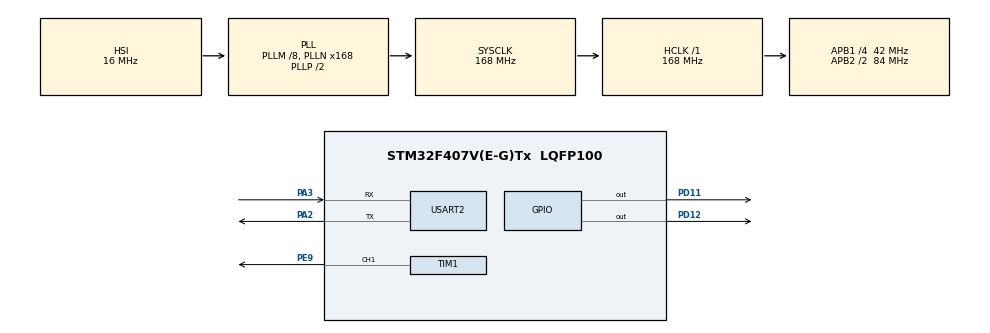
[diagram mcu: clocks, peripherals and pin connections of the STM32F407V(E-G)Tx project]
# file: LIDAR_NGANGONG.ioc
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Dma.Request0=USART2_RX
Dma.USART2_RX.0.Direction=DMA_PERIPH_TO_MEMORY
Dma.USART2_RX.0.FIFOMode=DMA_FIFOMODE_DISABLE
Dma.USART2_RX.0.Instance=DMA1_Stream5
Dma.USART2_RX.0.MemDataAlignment=DMA_MDATAALIGN_BYTE
Dma.USART2_RX.0.MemInc=DMA_MINC_ENABLE
Dma.USART2_RX.0.Mode=DMA_CIRCULAR
Dma.USART2_RX.0.PeriphDataAlignment=DMA_PDATAALIGN_BYTE
Dma.USART2_RX.0.PeriphInc=DMA_PINC_DISABLE
Dma.USART2_RX.0.Priority=DMA_PRIORITY_LOW
Mcu.Family=STM32F4
Mcu.Name=STM32F407V(E-G)Tx
Mcu.Package=LQFP100
NVIC.DMA1_Stream5_IRQn=true\:0\:0\:false\:false\:true\:false\:true\:true
NVIC.PriorityGroup=NVIC_PRIORITYGROUP_4
PA2.Mode=Asynchronous
PA2.Signal=USART2_TX
PA3.Mode=Asynchronous
PA3.Signal=USART2_RX
PD11.Signal=GPIO_Output
PD12.Signal=GPIO_Output
PE9.Signal=S_TIM1_CH1
ProjectManager.HeapSize=0x200
ProjectManager.StackSize=0x400
ProjectManager.TargetToolchain=MDK-ARM V5.32
RCC.48MHZClocksFreq_Value=84000000
RCC.AHBFreq_Value=168000000
RCC.APB1CLKDivider=RCC_HCLK_DIV4
RCC.APB1Freq_Value=42000000
RCC.APB1TimFreq_Value=84000000
RCC.APB2CLKDivider=RCC_HCLK_DIV2
RCC.APB2Freq_Value=84000000
RCC.APB2TimFreq_Value=168000000
RCC.CortexFreq_Value=168000000
RCC.HCLKFreq_Value=168000000
RCC.HSE_VALUE=25000000
RCC.HSI_VALUE=16000000
RCC.LSE_VALUE=32768
RCC.PLLM=8
RCC.PLLN=168
RCC.SYSCLKFreq_VALUE=168000000
RCC.SYSCLKSource=RCC_SYSCLKSOURCE_PLLCLK
RCC.VCOOutputFreq_Value=336000000
SH.S_TIM1_CH1.0=TIM1_CH1,PWM Generation1 CH1
TIM1.Channel-PWM\ Generation1\ CH1=TIM_CHANNEL_1
TIM1.Period=65535-1
TIM1.Prescaler=466.09376-1
USART2.VirtualMode=VM_ASYNC
VP_TIM1_VS_ClockSourceINT.Mode=Internal
board=custom

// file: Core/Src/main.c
/* USER CODE BEGIN Header */
/**
  ******************************************************************************
  * @file           : main.c
  * @brief          : Main program body
  ******************************************************************************
  * @attention
  *
  * Copyright (c) 2022 STMicroelectronics.
  * All rights reserved.
  *
  * This software is licensed under terms that can be found in the LICENSE file
  * in the root directory of this software component.
  * If no LICENSE file comes with this software, it is provided AS-IS.
  *
  ******************************************************************************
  */
/* USER CODE END Header */
#include "main.h"

TIM_HandleTypeDef htim1;

UART_HandleTypeDef huart2;
DMA_HandleTypeDef hdma_usart2_rx;

void SystemClock_Config(void);
static void MX_GPIO_Init(void);
static void MX_DMA_Init(void);
static void MX_TIM1_Init(void);
static void MX_USART2_UART_Init(void);

/* USER CODE BEGIN 0 */

//**************************************************************************************//
//------------------------------------ COMMAND FOR LIDAR -------------------------------//
//**************************************************************************************//

uint8_t runStop[] = {0xA5, 0x25};
uint8_t runReset[] = {0xA5, 0x40};
uint8_t runScanNormal[] = {0xA5, 0x20};
uint8_t runExpressScan[] = {0xA5, 0x82};
uint8_t runForceScan[] = {0xA5, 0x21};
uint8_t getInfo[] = {0xA5, 0x50};
uint8_t getHealth[] = {0xA5, 0x52};
uint8_t getSampleRate[] = {0xA5, 0x59};
uint8_t getLidarConfig[] = {0xA5, 0x84};

//**************************************************************************************//
//------------------------------------ Private Variable --------------------------------//
//**************************************************************************************//

uint8_t receiverBuffer[374];
uint8_t uartHealth = 0x00;
uint8_t scanning = 0x00;
uint8_t responseDescriptor[7];
uint8_t dataScan[374];
uint8_t flagA = 0;
int inc = 0;

//**************************************************************************************//
//------------------------------------ CALL BACK FROM UART -----------------------------//
//**************************************************************************************//

void HAL_UART_RxHalfCpltCallback(UART_HandleTypeDef *huart)
{
	if(receiverBuffer[0] == 0xA5){
			flagA = 1;
	}
	else{
			flagA = 0;
	}
  HAL_GPIO_TogglePin(GPIOD,GPIO_PIN_12);
}

void HAL_UART_RxCpltCallback(UART_HandleTypeDef *huart)
{
		if(dataScan[0] == 0x00){
			for(int i = 0; i < 374; i++){
				dataScan[i] = receiverBuffer[i];
			}
		}
//		if(flagA){
//			// Ambil Data Descriptor
//			for(int i = 0; i < 7; i++){
//				if((receiverBuffer[i] == 0xA5) && (i != 0)){
//					break;
//				}
//				responseDescriptor[i] = receiverBuffer[i];
//			}
//			// Tetap Menggunakan 7 bit
//			HAL_UART_Receive_DMA(&huart2, receiverBuffer, 123);
//		}
//		else{
//			if(inc < 360){
//				for(int i = 0+(inc*5); i < 5+(inc*5); i++){
//					dataScan[i] = receiverBuffer[i];
//				}
//				inc++;
//			}
//			// Menggunakan 5 bit
//			HAL_UART_Receive_DMA(&huart2, receiverBuffer, 123);
//		}

//	if((responseDescriptor[0] == 0xA5) && (dataScan[0] == 0x00)){
//		for(int i = 0; i < 30; i++){
//			dataScan[i] = receiverBuffer[i];
//		}
//	}
//		for(uint8_t i = 0; i < 5; i++){
//			dataScan[i] = receiverBuffer[i];
//		}

}

/* USER CODE END 0 */

int main(void)
{

  /* MCU Configuration--------------------------------------------------------*/

  /* Reset of all peripherals, Initializes the Flash interface and the Systick. */
  HAL_Init();

  /* Configure the system clock */
  SystemClock_Config();

  /* Initialize all configured peripherals */
  MX_GPIO_Init();
  MX_DMA_Init();
  MX_TIM1_Init();
  MX_USART2_UART_Init();
  /* USER CODE BEGIN 2 */

//**************************************************************************************//
//------------------------------------ PWM Controller Lidar ----------------------------//
//**************************************************************************************//

	TIM1->CCR1 = (100*65535/100);
	HAL_TIM_PWM_Start(&htim1, TIM_CHANNEL_1);

//**************************************************************************************//
//------------------------------------ Transmitt Command -------------------------------//
//**************************************************************************************//

//	HAL_UART_Transmit(&huart2, runReset, sizeof(runReset),10);
//	HAL_Delay(20);

//**************************************************************************************//
//------------------------------------ Receiver Response -------------------------------//
//**************************************************************************************//

	HAL_UART_Receive_DMA(&huart2, receiverBuffer, 374);

  /* USER CODE END 2 */

  /* Infinite loop */
  /* USER CODE BEGIN WHILE */
  while (1)
  {
//		while(uartHealth != 0xA5){
//			if(receiverBuffer[0] == 0xA5){
//				HAL_GPIO_WritePin(GPIOD, GPIO_PIN_12,GPIO_PIN_RESET);
//				uartHealth = receiverBuffer[0];
//				break;
//			}
//			HAL_UART_Transmit(&huart2, getHealth, sizeof(getHealth), HAL_MAX_DELAY);
//			HAL_GPIO_WritePin(GPIOD, GPIO_PIN_12,GPIO_PIN_SET);
//		}

//		while(scanning != 0xA5){
//			if(receiverBuffer[0] == 0xA5){
//				HAL_GPIO_WritePin(GPIOD, GPIO_PIN_12,GPIO_PIN_RESET);
//				scanning = receiverBuffer[0];
//				break;
//			}
//			HAL_UART_Transmit(&huart2, runScanNormal, sizeof(runScanNormal), HAL_MAX_DELAY);
//			HAL_GPIO_WritePin(GPIOD, GPIO_PIN_12,GPIO_PIN_SET);
//		}

    /* USER CODE END WHILE */

  }
}

void SystemClock_Config(void)
{
  RCC_OscInitTypeDef RCC_OscInitStruct = {0};
  RCC_ClkInitTypeDef RCC_ClkInitStruct = {0};

  /** Configure the main internal regulator output voltage
  */
  __HAL_RCC_PWR_CLK_ENABLE();
  __HAL_PWR_VOLTAGESCALING_CONFIG(PWR_REGULATOR_VOLTAGE_SCALE1);

  /** Initializes the RCC Oscillators according to the specified parameters
  * in the RCC_OscInitTypeDef structure.
  */
  RCC_OscInitStruct.OscillatorType = RCC_OSCILLATORTYPE_HSI;
  RCC_OscInitStruct.HSIState = RCC_HSI_ON;
  RCC_OscInitStruct.HSICalibrationValue = RCC_HSICALIBRATION_DEFAULT;
  RCC_OscInitStruct.PLL.PLLState = RCC_PLL_ON;
  RCC_OscInitStruct.PLL.PLLSource = RCC_PLLSOURCE_HSI;
  RCC_OscInitStruct.PLL.PLLM = 8;
  RCC_OscInitStruct.PLL.PLLN = 168;
  RCC_OscInitStruct.PLL.PLLP = RCC_PLLP_DIV2;
  RCC_OscInitStruct.PLL.PLLQ = 4;
  if (HAL_RCC_OscConfig(&RCC_OscInitStruct) != HAL_OK)
  {
    Error_Handler();
  }

  /** Initializes the CPU, AHB and APB buses clocks
  */
  RCC_ClkInitStruct.ClockType = RCC_CLOCKTYPE_HCLK|RCC_CLOCKTYPE_SYSCLK
                              |RCC_CLOCKTYPE_PCLK1|RCC_CLOCKTYPE_PCLK2;
  RCC_ClkInitStruct.SYSCLKSource = RCC_SYSCLKSOURCE_PLLCLK;
  RCC_ClkInitStruct.AHBCLKDivider = RCC_SYSCLK_DIV1;
  RCC_ClkInitStruct.APB1CLKDivider = RCC_HCLK_DIV4;
  RCC_ClkInitStruct.APB2CLKDivider = RCC_HCLK_DIV2;

  if (HAL_RCC_ClockConfig(&RCC_ClkInitStruct, FLASH_LATENCY_5) != HAL_OK)
  {
    Error_Handler();
  }
}

static void MX_TIM1_Init(void)
{

  TIM_ClockConfigTypeDef sClockSourceConfig = {0};
  TIM_MasterConfigTypeDef sMasterConfig = {0};
  TIM_OC_InitTypeDef sConfigOC = {0};
  TIM_BreakDeadTimeConfigTypeDef sBreakDeadTimeConfig = {0};

  htim1.Instance = TIM1;
  htim1.Init.Prescaler = 466.09376-1;
  htim1.Init.CounterMode = TIM_COUNTERMODE_UP;
  htim1.Init.Period = 65535-1;
  htim1.Init.ClockDivision = TIM_CLOCKDIVISION_DIV1;
  htim1.Init.RepetitionCounter = 0;
  htim1.Init.AutoReloadPreload = TIM_AUTORELOAD_PRELOAD_DISABLE;
  if (HAL_TIM_Base_Init(&htim1) != HAL_OK)
  {
    Error_Handler();
  }
  sClockSourceConfig.ClockSource = TIM_CLOCKSOURCE_INTERNAL;
  if (HAL_TIM_ConfigClockSource(&htim1, &sClockSourceConfig) != HAL_OK)
  {
    Error_Handler();
  }
  if (HAL_TIM_PWM_Init(&htim1) != HAL_OK)
  {
    Error_Handler();
  }
  sMasterConfig.MasterOutputTrigger = TIM_TRGO_RESET;
  sMasterConfig.MasterSlaveMode = TIM_MASTERSLAVEMODE_DISABLE;
  if (HAL_TIMEx_MasterConfigSynchronization(&htim1, &sMasterConfig) != HAL_OK)
  {
    Error_Handler();
  }
  sConfigOC.OCMode = TIM_OCMODE_PWM1;
  sConfigOC.Pulse = 0;
  sConfigOC.OCPolarity = TIM_OCPOLARITY_HIGH;
  sConfigOC.OCNPolarity = TIM_OCNPOLARITY_HIGH;
  sConfigOC.OCFastMode = TIM_OCFAST_DISABLE;
  sConfigOC.OCIdleState = TIM_OCIDLESTATE_RESET;
  sConfigOC.OCNIdleState = TIM_OCNIDLESTATE_RESET;
  if (HAL_TIM_PWM_ConfigChannel(&htim1, &sConfigOC, TIM_CHANNEL_1) != HAL_OK)
  {
    Error_Handler();
  }
  sBreakDeadTimeConfig.OffStateRunMode = TIM_OSSR_DISABLE;
  sBreakDeadTimeConfig.OffStateIDLEMode = TIM_OSSI_DISABLE;
  sBreakDeadTimeConfig.LockLevel = TIM_LOCKLEVEL_OFF;
  sBreakDeadTimeConfig.DeadTime = 0;
  sBreakDeadTimeConfig.BreakState = TIM_BREAK_DISABLE;
  sBreakDeadTimeConfig.BreakPolarity = TIM_BREAKPOLARITY_HIGH;
  sBreakDeadTimeConfig.AutomaticOutput = TIM_AUTOMATICOUTPUT_DISABLE;
  if (HAL_TIMEx_ConfigBreakDeadTime(&htim1, &sBreakDeadTimeConfig) != HAL_OK)
  {
    Error_Handler();
  }
  HAL_TIM_MspPostInit(&htim1);

}

static void MX_USART2_UART_Init(void)
{

  huart2.Instance = USART2;
  huart2.Init.BaudRate = 115200;
  huart2.Init.WordLength = UART_WORDLENGTH_8B;
  huart2.Init.StopBits = UART_STOPBITS_1;
  huart2.Init.Parity = UART_PARITY_NONE;
  huart2.Init.Mode = UART_MODE_TX_RX;
  huart2.Init.HwFlowCtl = UART_HWCONTROL_NONE;
  huart2.Init.OverSampling = UART_OVERSAMPLING_16;
  if (HAL_UART_Init(&huart2) != HAL_OK)
  {
    Error_Handler();
  }

}

static void MX_DMA_Init(void)
{

  /* DMA controller clock enable */
  __HAL_RCC_DMA1_CLK_ENABLE();

  /* DMA interrupt init */
  /* DMA1_Stream5_IRQn interrupt configuration */
  HAL_NVIC_SetPriority(DMA1_Stream5_IRQn, 0, 0);
  HAL_NVIC_EnableIRQ(DMA1_Stream5_IRQn);

}

static void MX_GPIO_Init(void)
{
  GPIO_InitTypeDef GPIO_InitStruct = {0};

  /* GPIO Ports Clock Enable */
  __HAL_RCC_GPIOA_CLK_ENABLE();
  __HAL_RCC_GPIOE_CLK_ENABLE();
  __HAL_RCC_GPIOD_CLK_ENABLE();

  /*Configure GPIO pin Output Level */
  HAL_GPIO_WritePin(GPIOD, GPIO_PIN_11|GPIO_PIN_12, GPIO_PIN_RESET);

  /*Configure GPIO pins : PD11 PD12 */
  GPIO_InitStruct.Pin = GPIO_PIN_11|GPIO_PIN_12;
  GPIO_InitStruct.Mode = GPIO_MODE_OUTPUT_PP;
  GPIO_InitStruct.Pull = GPIO_NOPULL;
  GPIO_InitStruct.Speed = GPIO_SPEED_FREQ_LOW;
  HAL_GPIO_Init(GPIOD, &GPIO_InitStruct);

}

void Error_Handler(void)
{
  __disable_irq();
  while (1)
  {
  }
}
